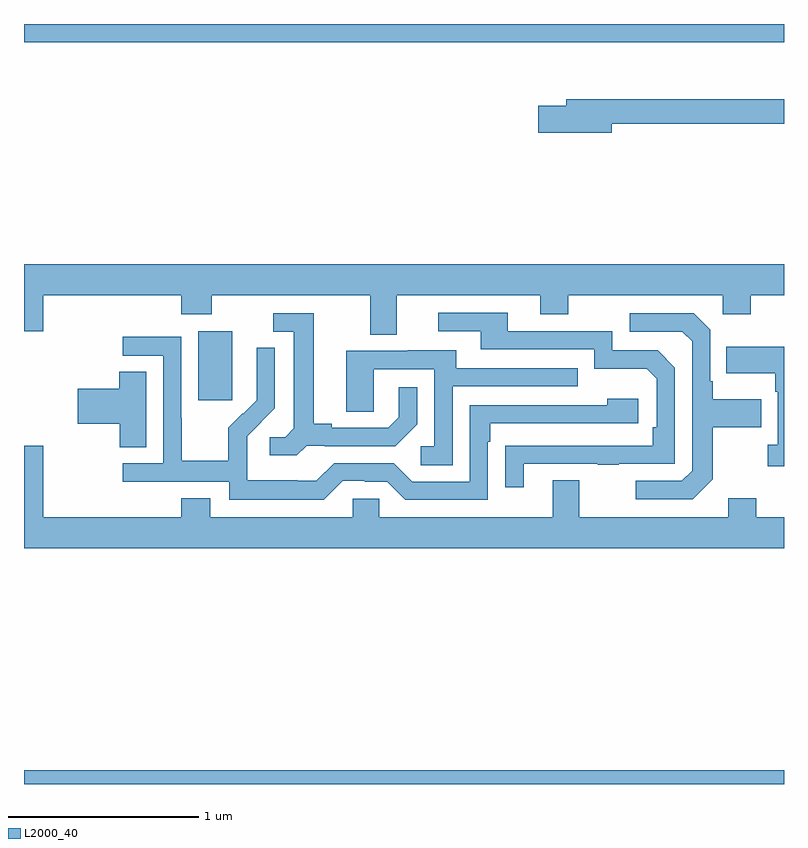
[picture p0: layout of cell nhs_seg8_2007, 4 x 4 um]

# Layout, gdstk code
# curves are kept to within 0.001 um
import gdstk
lib = gdstk.Library(unit=1e-6, precision=1e-09)
def R(c, l, rs):  # rectangles x0, y0, x1, y1
    for r in rs: c.add(gdstk.rectangle(r[:2], r[2:], *l))
def P(c, l, *ps):  # polygons
    for p in ps: c.add(gdstk.Polygon(p, *l))
L2000_40 = (2000, 40)

nhs_seg8_2007 = lib.new_cell('nhs_seg8_2007')
R(nhs_seg8_2007, L2000_40, [(237,1141.9,241,1141.972), (237.917,1143.921,238.096,1144.282), (237,1145.804,241,1145.9)])
P(nhs_seg8_2007, L2000_40, [(240.094,1145.374),(241,1145.374),(241,1145.503),(239.855,1145.503),(239.855,1145.469),(239.706,1145.469),(239.706,1145.327),(240.094,1145.327)],
  [(238.963,1144.472),(239.717,1144.472),(239.717,1144.373),(239.865,1144.373),(239.865,1144.472),(240.678,1144.472),(240.678,1144.373),(240.825,1144.373),(240.825,1144.472),(241,1144.472),(241,1144.636),(237,1144.636),(237,1144.284),(237.1,1144.284),(237.1,1144.472),(237.827,1144.472),(237.827,1144.373),(237.987,1144.373),(237.987,1144.472),(238.823,1144.472),(238.823,1144.264),(238.963,1144.264)],
  [(239.629,1143.585),(240.019,1143.585),(240.019,1143.58),(240.131,1143.58),(240.131,1143.585),(240.426,1143.585),(240.426,1144.092),(240.336,1144.182),(240.096,1144.182),(240.096,1144.284),(239.545,1144.284),(239.545,1144.38),(239.181,1144.38),(239.181,1144.284),(239.405,1144.284),(239.405,1144.188),(240,1144.188),(240,1144.085),(240.277,1144.085),(240.33,1144.032),(240.33,1143.778),(240.31,1143.778),(240.31,1143.681),(239.533,1143.68),(239.533,1143.462),(239.629,1143.462)],
  [(238.488,1143.681),(238.582,1143.681),(238.582,1143.678),(238.954,1143.678),(239.07,1143.794),(239.07,1143.988),(238.973,1143.988),(238.973,1143.831),(238.916,1143.774),(238.621,1143.774),(238.621,1143.797),(238.525,1143.797),(238.525,1144.377),(238.311,1144.377),(238.311,1144.281),(238.421,1144.281),(238.421,1143.773),(238.374,1143.726),(238.293,1143.726),(238.293,1143.629),(238.436,1143.629)],
  [(240.625,1143.505),(240.625,1143.778),(240.881,1143.778),(240.881,1143.925),(240.625,1143.925),(240.625,1144.021),(240.612,1144.021),(240.612,1144.29),(240.525,1144.377),(240.189,1144.377),(240.189,1144.281),(240.465,1144.281),(240.516,1144.23),(240.516,1143.549),(240.462,1143.495),(240.219,1143.495),(240.219,1143.399),(240.519,1143.399)],
  [(238.677,1143.495),(238.793,1143.495),(238.793,1143.492),(238.911,1143.492),(239.007,1143.396),(239.442,1143.396),(239.442,1143.701),(239.455,1143.701),(239.455,1143.798),(240.232,1143.798),(240.232,1143.928),(240.071,1143.928),(240.071,1143.894),(239.346,1143.894),(239.346,1143.492),(239.043,1143.492),(238.947,1143.588),(238.632,1143.588),(238.539,1143.495),(238.439,1143.495),(238.439,1143.499),(238.176,1143.499),(238.176,1143.633),(238.174,1143.633),(238.174,1143.73),(238.32,1143.878),(238.32,1144.196),(238.224,1144.196),(238.224,1144.042),(238.226,1144.042),(238.226,1143.92),(238.155,1143.849),(238.152,1143.852),(238.075,1143.775),(238.075,1143.601),(237.831,1143.601),(237.831,1143.824),(237.828,1143.824),(237.828,1144.254),(237.519,1144.254),(237.519,1144.155),(237.732,1144.155),(237.732,1143.588),(237.519,1143.588),(237.519,1143.492),(238.08,1143.492),(238.08,1143.395),(238.577,1143.395)],
  [(241,1144.201),(240.697,1144.201),(240.697,1144.061),(240.954,1144.061),(240.954,1143.965),(240.966,1143.965),(240.966,1143.686),(240.915,1143.686),(240.915,1143.573),(241,1143.573)],
  [(239.256,1143.993),(239.915,1143.993),(239.915,1144.089),(239.275,1144.089),(239.275,1144.183),(239.021,1144.183),(239.021,1144.179),(238.697,1144.179),(238.697,1143.859),(238.842,1143.859),(238.842,1144.083),(239.16,1144.083),(239.16,1143.678),(239.088,1143.678),(239.088,1143.577),(239.256,1143.577)],
  [(237.643,1144.07),(237.5,1144.07),(237.5,1143.98),(237.282,1143.98),(237.282,1143.797),(237.505,1143.797),(237.505,1143.673),(237.643,1143.673)],
  [(241,1143.304),(240.855,1143.304),(240.855,1143.403),(240.707,1143.403),(240.707,1143.304),(239.923,1143.304),(239.923,1143.499),(239.783,1143.499),(239.783,1143.304),(238.869,1143.304),(238.869,1143.402),(238.731,1143.402),(238.731,1143.304),(237.979,1143.304),(237.979,1143.403),(237.827,1143.403),(237.827,1143.304),(237.1,1143.304),(237.1,1143.679),(237,1143.679),(237,1143.14),(241,1143.14)])

lib.write_gds('nhs_seg8_2007.gds')
